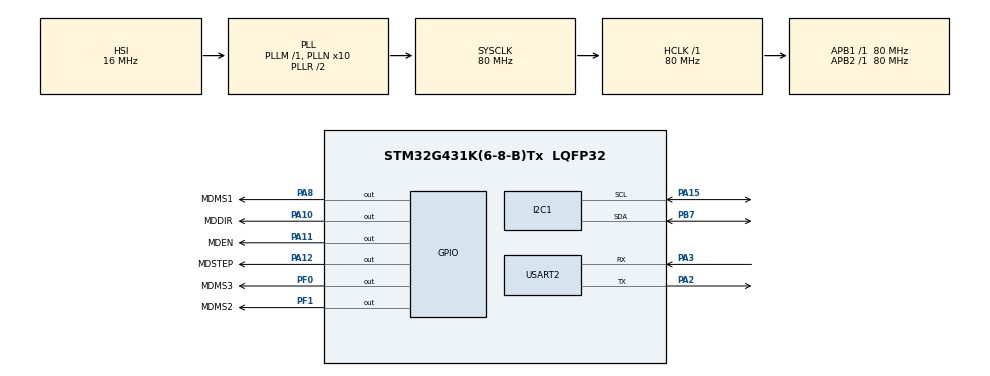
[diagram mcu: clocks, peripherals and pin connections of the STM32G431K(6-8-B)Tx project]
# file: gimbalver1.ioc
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I2C1.Timing=0x10D19CE4
Mcu.Family=STM32G4
Mcu.Name=STM32G431K(6-8-B)Tx
Mcu.Package=LQFP32
NVIC.PriorityGroup=NVIC_PRIORITYGROUP_4
NVIC.TIM6_DAC_IRQn=true\:1\:0\:true\:false\:true\:true\:true\:true
NVIC.TIM7_IRQn=true\:0\:0\:false\:false\:true\:true\:true\:true
PA10.GPIO_Label=MDDIR
PA10.Signal=GPIO_Output
PA11.GPIO_Label=MDEN
PA11.Signal=GPIO_Output
PA12.GPIO_Label=MDSTEP
PA12.Signal=GPIO_Output
PA15.GPIO_Pu=GPIO_PULLUP
PA15.Mode=I2C
PA15.Signal=I2C1_SCL
PA2.Mode=Asynchronous
PA2.Signal=USART2_TX
PA3.Mode=Asynchronous
PA3.Signal=USART2_RX
PA8.GPIO_Label=MDMS1
PA8.Signal=GPIO_Output
PB7.GPIO_Pu=GPIO_PULLUP
PB7.Mode=I2C
PB7.Signal=I2C1_SDA
PF0-OSC_IN.GPIO_Label=MDMS3
PF0-OSC_IN.Signal=GPIO_Output
PF1-OSC_OUT.GPIO_Label=MDMS2
PF1-OSC_OUT.Signal=GPIO_Output
ProjectManager.HeapSize=0x200
ProjectManager.StackSize=0x400
ProjectManager.TargetToolchain=STM32CubeIDE
RCC.ADC12Freq_Value=80000000
RCC.AHBFreq_Value=80000000
RCC.APB1Freq_Value=80000000
RCC.APB1TimFreq_Value=80000000
RCC.APB2Freq_Value=80000000
RCC.APB2TimFreq_Value=80000000
RCC.CortexFreq_Value=80000000
RCC.EXTERNAL_CLOCK_VALUE=12288000
RCC.HCLKFreq_Value=80000000
RCC.HSE_VALUE=8000000
RCC.HSI48_VALUE=48000000
RCC.HSI_VALUE=16000000
RCC.LSE_VALUE=32768
RCC.PLLN=10
RCC.SYSCLKFreq_VALUE=80000000
RCC.SYSCLKSource=RCC_SYSCLKSOURCE_PLLCLK
RCC.USBFreq_Value=80000000
RCC.VCOOutputFreq_Value=160000000
TIM6.PeriodNoDither=9
TIM6.Prescaler=7999
TIM7.PeriodNoDither=999
TIM7.Prescaler=7999
USART2.VirtualMode-Asynchronous=VM_ASYNC
VP_SYS_VS_DBSignals.Mode=DisableDeadBatterySignals
VP_TIM6_VS_ClockSourceINT.Mode=Enable_Timer
VP_TIM7_VS_ClockSourceINT.Mode=Enable_Timer
board=custom

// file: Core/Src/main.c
/* USER CODE BEGIN Header */
/**
  ******************************************************************************
  * @file           : main.c
  * @brief          : Main program body
  ******************************************************************************
  * @attention
  *
  * Copyright (c) 2025 STMicroelectronics.
  * All rights reserved.
  *
  * This software is licensed under terms that can be found in the LICENSE file
  * in the root directory of this software component.
  * If no LICENSE file comes with this software, it is provided AS-IS.
  *
  ******************************************************************************
  */
/* USER CODE END Header */
#include "main.h"

/* USER CODE BEGIN Includes */
#include <stdio.h>
#include "BNO055.h"
/* USER CODE END Includes */

/* USER CODE BEGIN PD */
#define onepulse_motorangle 0.9

/* USER CODE END PD */

I2C_HandleTypeDef hi2c1;

TIM_HandleTypeDef htim6;
TIM_HandleTypeDef htim7;

UART_HandleTypeDef huart2;

/* USER CODE BEGIN PV */
float Gyr_x;
float Gyr_y;
float Gyr_z;

int stepState = 0; //0:reset 1:set
uint16_t stepInterval;
uint16_t mInterval;

float mangle = 0;
float tangle = 0;

int mdir = 1;
int ms = 1;
int tim7init = 0;
/* USER CODE END PV */

void SystemClock_Config(void);
static void MX_GPIO_Init(void);
static void MX_I2C1_Init(void);
static void MX_USART2_UART_Init(void);
static void MX_TIM7_Init(void);
static void MX_TIM6_Init(void);

/* USER CODE BEGIN 0 */
void A4988_Initialize(){
	HAL_GPIO_WritePin(MDEN_GPIO_Port,MDEN_Pin,GPIO_PIN_RESET);
	HAL_GPIO_WritePin(MDMS1_GPIO_Port,MDMS1_Pin,GPIO_PIN_RESET);
	HAL_GPIO_WritePin(MDMS2_GPIO_Port,MDMS2_Pin,GPIO_PIN_RESET);
	HAL_GPIO_WritePin(MDMS3_GPIO_Port,MDMS3_Pin,GPIO_PIN_RESET);
}

void A4988_STEP(uint16_t interval){
	if(stepState == 0){
		if(stepInterval != interval - 1){
			stepInterval = interval - 1;
			__HAL_TIM_SET_AUTORELOAD(&htim7, stepInterval);
		}
		HAL_GPIO_WritePin(MDSTEP_GPIO_Port,MDSTEP_Pin,GPIO_PIN_SET);
		stepState = 1;
	}else{
		HAL_GPIO_WritePin(MDSTEP_GPIO_Port,MDSTEP_Pin,GPIO_PIN_RESET);
		stepState = 0;
		mangle += onepulse_motorangle*mdir/ms;
		//printf("onepulse");
	}

}

void A4988_MSCHANGE(uint8_t MS){//1,2,4,8,16のみ
	if((MS & 0x01011) > 0 ){
		HAL_GPIO_WritePin(MDMS1_GPIO_Port,MDMS1_Pin,GPIO_PIN_SET);
	}else{
		HAL_GPIO_WritePin(MDMS1_GPIO_Port,MDMS1_Pin,GPIO_PIN_RESET);
	}
	if((MS & 0x00111) > 0){
		HAL_GPIO_WritePin(MDMS2_GPIO_Port,MDMS2_Pin,GPIO_PIN_SET);
	}else{
		HAL_GPIO_WritePin(MDMS2_GPIO_Port,MDMS2_Pin,GPIO_PIN_RESET);
	}
	if((MS & 0x00001) > 0){
		HAL_GPIO_WritePin(MDMS3_GPIO_Port,MDMS3_Pin,GPIO_PIN_SET);
	}else{
		HAL_GPIO_WritePin(MDMS3_GPIO_Port,MDMS3_Pin,GPIO_PIN_RESET);
	}

}

void HAL_TIM_PeriodElapsedCallback(TIM_HandleTypeDef *htim){
    if(htim == &htim6){
        BNO055_ReadGyr(&Gyr_x, &Gyr_y, &Gyr_z);
        //printf("%f , %f , %f\r\n",Gyr_x,Gyr_y,Gyr_z); // @suppress("Float formatting support")
        tangle += Gyr_z * 0.01;

        float diffangle = tangle - mangle;
        int pulse = diffangle / (onepulse_motorangle / ms);
        printf("%d\r\n",pulse);

        if (pulse < 0) {
            mdir = -1;
            HAL_GPIO_WritePin(MDDIR_GPIO_Port, MDDIR_Pin, GPIO_PIN_SET);
            pulse = -pulse;
        } else if (pulse > 0) {
            mdir = 1;
            HAL_GPIO_WritePin(MDDIR_GPIO_Port, MDDIR_Pin, GPIO_PIN_RESET);
        }

        if (pulse > 0) {
            mInterval = 100 / pulse;
        } else {
            mInterval = 100; // ゼロ除算防止
        }
        if(mInterval < 100){
        	mInterval = 100;
        }

        if (tim7init == 0) {
            HAL_TIM_Base_Start_IT(&htim7);
            tim7init = 1;
        }
        printf("%f,%f\r\n",tangle,mangle);
    }

    if(htim == &htim7){
    	printf("tim7");
        A4988_STEP(mInterval);
    }
}

int _write(int file, char *ptr, int len)
{
  HAL_UART_Transmit(&huart2,(uint8_t *)ptr,len,10);
  return len;
}
/* USER CODE END 0 */

int main(void)
{

  /* USER CODE BEGIN 1 */
	setbuf(stdout, NULL);
  /* USER CODE END 1 */

  /* MCU Configuration--------------------------------------------------------*/

  /* Reset of all peripherals, Initializes the Flash interface and the Systick. */
  HAL_Init();

  /* Configure the system clock */
  SystemClock_Config();

  /* Initialize all configured peripherals */
  MX_GPIO_Init();
  MX_I2C1_Init();
  MX_USART2_UART_Init();
  MX_TIM7_Init();
  MX_TIM6_Init();
  /* USER CODE BEGIN 2 */
  if(BNO055_Initialize_Fusion() == false){
    	  printf("false");
      }else{
    	  printf("Ok");
      }
  HAL_TIM_Base_Start_IT(&htim6);
  A4988_Initialize();
  //A4988_MSCHANGE(1);
  //HAL_GPIO_WritePin(MDDIR_GPIO_Port, MDDIR_Pin, GPIO_PIN_RESET);
  /* USER CODE END 2 */

  /* Infinite loop */
  while (1)
  {

    /* USER CODE BEGIN 3 */

//	  HAL_GPIO_WritePin(MDSTEP_GPIO_Port,MDSTEP_Pin,GPIO_PIN_SET);
//	  HAL_Delay(200);
//	  HAL_GPIO_WritePin(MDSTEP_GPIO_Port,MDSTEP_Pin,GPIO_PIN_RESET);
//	  //HAL_GPIO_TogglePin(MDDIR_GPIO_Port, MDDIR_Pin);
//	  HAL_Delay(200);
//	  printf("HEllo\r\n");

  }
  /* USER CODE END 3 */
}

void SystemClock_Config(void)
{
  RCC_OscInitTypeDef RCC_OscInitStruct = {0};
  RCC_ClkInitTypeDef RCC_ClkInitStruct = {0};

  /** Configure the main internal regulator output voltage
  */
  HAL_PWREx_ControlVoltageScaling(PWR_REGULATOR_VOLTAGE_SCALE1);

  /** Initializes the RCC Oscillators according to the specified parameters
  * in the RCC_OscInitTypeDef structure.
  */
  RCC_OscInitStruct.OscillatorType = RCC_OSCILLATORTYPE_HSI;
  RCC_OscInitStruct.HSIState = RCC_HSI_ON;
  RCC_OscInitStruct.HSICalibrationValue = RCC_HSICALIBRATION_DEFAULT;
  RCC_OscInitStruct.PLL.PLLState = RCC_PLL_ON;
  RCC_OscInitStruct.PLL.PLLSource = RCC_PLLSOURCE_HSI;
  RCC_OscInitStruct.PLL.PLLM = RCC_PLLM_DIV1;
  RCC_OscInitStruct.PLL.PLLN = 10;
  RCC_OscInitStruct.PLL.PLLP = RCC_PLLP_DIV2;
  RCC_OscInitStruct.PLL.PLLQ = RCC_PLLQ_DIV2;
  RCC_OscInitStruct.PLL.PLLR = RCC_PLLR_DIV2;
  if (HAL_RCC_OscConfig(&RCC_OscInitStruct) != HAL_OK)
  {
    Error_Handler();
  }

  /** Initializes the CPU, AHB and APB buses clocks
  */
  RCC_ClkInitStruct.ClockType = RCC_CLOCKTYPE_HCLK|RCC_CLOCKTYPE_SYSCLK
                              |RCC_CLOCKTYPE_PCLK1|RCC_CLOCKTYPE_PCLK2;
  RCC_ClkInitStruct.SYSCLKSource = RCC_SYSCLKSOURCE_PLLCLK;
  RCC_ClkInitStruct.AHBCLKDivider = RCC_SYSCLK_DIV1;
  RCC_ClkInitStruct.APB1CLKDivider = RCC_HCLK_DIV1;
  RCC_ClkInitStruct.APB2CLKDivider = RCC_HCLK_DIV1;

  if (HAL_RCC_ClockConfig(&RCC_ClkInitStruct, FLASH_LATENCY_2) != HAL_OK)
  {
    Error_Handler();
  }
}

static void MX_I2C1_Init(void)
{

  hi2c1.Instance = I2C1;
  hi2c1.Init.Timing = 0x10D19CE4;
  hi2c1.Init.OwnAddress1 = 0;
  hi2c1.Init.AddressingMode = I2C_ADDRESSINGMODE_7BIT;
  hi2c1.Init.DualAddressMode = I2C_DUALADDRESS_DISABLE;
  hi2c1.Init.OwnAddress2 = 0;
  hi2c1.Init.OwnAddress2Masks = I2C_OA2_NOMASK;
  hi2c1.Init.GeneralCallMode = I2C_GENERALCALL_DISABLE;
  hi2c1.Init.NoStretchMode = I2C_NOSTRETCH_DISABLE;
  if (HAL_I2C_Init(&hi2c1) != HAL_OK)
  {
    Error_Handler();
  }

  /** Configure Analogue filter
  */
  if (HAL_I2CEx_ConfigAnalogFilter(&hi2c1, I2C_ANALOGFILTER_ENABLE) != HAL_OK)
  {
    Error_Handler();
  }

  /** Configure Digital filter
  */
  if (HAL_I2CEx_ConfigDigitalFilter(&hi2c1, 0) != HAL_OK)
  {
    Error_Handler();
  }

}

static void MX_TIM6_Init(void)
{

  TIM_MasterConfigTypeDef sMasterConfig = {0};

  htim6.Instance = TIM6;
  htim6.Init.Prescaler = 7999;
  htim6.Init.CounterMode = TIM_COUNTERMODE_UP;
  htim6.Init.Period = 9;
  htim6.Init.AutoReloadPreload = TIM_AUTORELOAD_PRELOAD_DISABLE;
  if (HAL_TIM_Base_Init(&htim6) != HAL_OK)
  {
    Error_Handler();
  }
  sMasterConfig.MasterOutputTrigger = TIM_TRGO_RESET;
  sMasterConfig.MasterSlaveMode = TIM_MASTERSLAVEMODE_DISABLE;
  if (HAL_TIMEx_MasterConfigSynchronization(&htim6, &sMasterConfig) != HAL_OK)
  {
    Error_Handler();
  }

}

static void MX_TIM7_Init(void)
{

  TIM_MasterConfigTypeDef sMasterConfig = {0};

  htim7.Instance = TIM7;
  htim7.Init.Prescaler = 7999;
  htim7.Init.CounterMode = TIM_COUNTERMODE_UP;
  htim7.Init.Period = 999;
  htim7.Init.AutoReloadPreload = TIM_AUTORELOAD_PRELOAD_DISABLE;
  if (HAL_TIM_Base_Init(&htim7) != HAL_OK)
  {
    Error_Handler();
  }
  sMasterConfig.MasterOutputTrigger = TIM_TRGO_RESET;
  sMasterConfig.MasterSlaveMode = TIM_MASTERSLAVEMODE_DISABLE;
  if (HAL_TIMEx_MasterConfigSynchronization(&htim7, &sMasterConfig) != HAL_OK)
  {
    Error_Handler();
  }
  /* USER CODE BEGIN TIM7_Init 2 */
  htim7.Init.Period = stepInterval;
  /* USER CODE END TIM7_Init 2 */

}

static void MX_USART2_UART_Init(void)
{

  huart2.Instance = USART2;
  huart2.Init.BaudRate = 115200;
  huart2.Init.WordLength = UART_WORDLENGTH_8B;
  huart2.Init.StopBits = UART_STOPBITS_1;
  huart2.Init.Parity = UART_PARITY_NONE;
  huart2.Init.Mode = UART_MODE_TX_RX;
  huart2.Init.HwFlowCtl = UART_HWCONTROL_NONE;
  huart2.Init.OverSampling = UART_OVERSAMPLING_16;
  huart2.Init.OneBitSampling = UART_ONE_BIT_SAMPLE_DISABLE;
  huart2.Init.ClockPrescaler = UART_PRESCALER_DIV1;
  huart2.AdvancedInit.AdvFeatureInit = UART_ADVFEATURE_NO_INIT;
  if (HAL_UART_Init(&huart2) != HAL_OK)
  {
    Error_Handler();
  }
  if (HAL_UARTEx_SetTxFifoThreshold(&huart2, UART_TXFIFO_THRESHOLD_1_8) != HAL_OK)
  {
    Error_Handler();
  }
  if (HAL_UARTEx_SetRxFifoThreshold(&huart2, UART_RXFIFO_THRESHOLD_1_8) != HAL_OK)
  {
    Error_Handler();
  }
  if (HAL_UARTEx_DisableFifoMode(&huart2) != HAL_OK)
  {
    Error_Handler();
  }

}

static void MX_GPIO_Init(void)
{
  GPIO_InitTypeDef GPIO_InitStruct = {0};

  /* GPIO Ports Clock Enable */
  __HAL_RCC_GPIOF_CLK_ENABLE();
  __HAL_RCC_GPIOA_CLK_ENABLE();
  __HAL_RCC_GPIOB_CLK_ENABLE();

  /*Configure GPIO pin Output Level */
  HAL_GPIO_WritePin(GPIOF, MDMS3_Pin|MDMS2_Pin, GPIO_PIN_RESET);

  /*Configure GPIO pin Output Level */
  HAL_GPIO_WritePin(GPIOA, MDMS1_Pin|MDDIR_Pin|MDEN_Pin|MDSTEP_Pin, GPIO_PIN_RESET);

  /*Configure GPIO pins : MDMS3_Pin MDMS2_Pin */
  GPIO_InitStruct.Pin = MDMS3_Pin|MDMS2_Pin;
  GPIO_InitStruct.Mode = GPIO_MODE_OUTPUT_PP;
  GPIO_InitStruct.Pull = GPIO_NOPULL;
  GPIO_InitStruct.Speed = GPIO_SPEED_FREQ_LOW;
  HAL_GPIO_Init(GPIOF, &GPIO_InitStruct);

  /*Configure GPIO pins : MDMS1_Pin MDDIR_Pin MDEN_Pin MDSTEP_Pin */
  GPIO_InitStruct.Pin = MDMS1_Pin|MDDIR_Pin|MDEN_Pin|MDSTEP_Pin;
  GPIO_InitStruct.Mode = GPIO_MODE_OUTPUT_PP;
  GPIO_InitStruct.Pull = GPIO_NOPULL;
  GPIO_InitStruct.Speed = GPIO_SPEED_FREQ_LOW;
  HAL_GPIO_Init(GPIOA, &GPIO_InitStruct);

}

void Error_Handler(void)
{
  __disable_irq();
  while (1)
  {
  }
}
